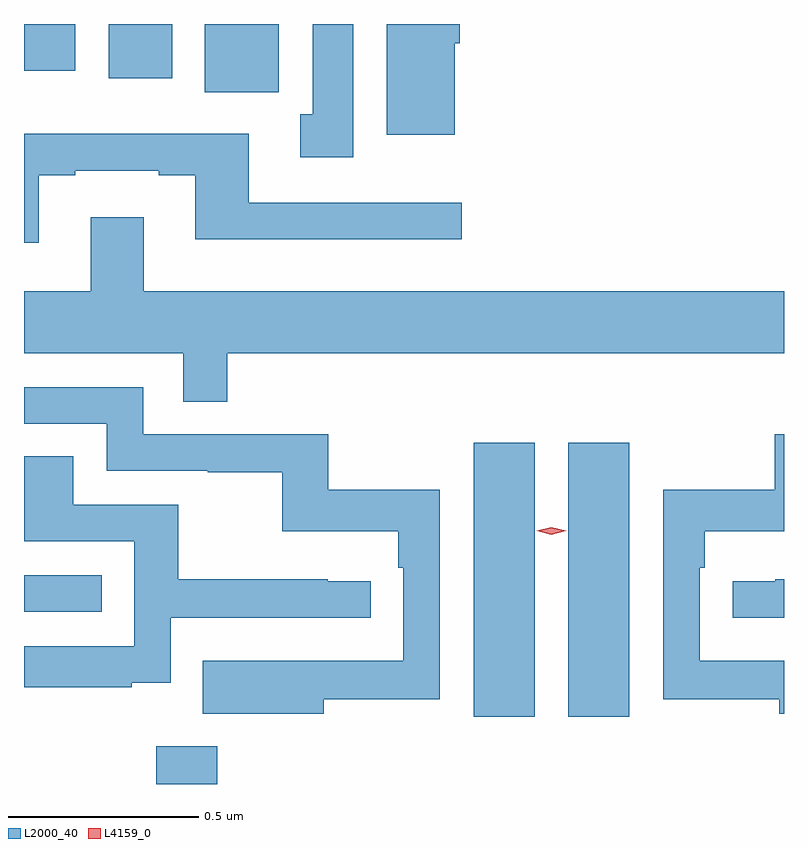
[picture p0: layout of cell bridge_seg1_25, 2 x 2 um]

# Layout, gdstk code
import gdstk
lib = gdstk.Library(unit=1e-6, precision=1e-09)
def R(c, l, rs):  # rectangles x0, y0, x1, y1
    for r in rs: c.add(gdstk.rectangle(r[:2], r[2:], *l))
def P(c, l, *ps):  # polygons
    for p in ps: c.add(gdstk.Polygon(p, *l))
L2000_40 = (2000, 40)
L4159_0 = (4159, 0)

bridge_seg1_25 = lib.new_cell('bridge_seg1_25')
R(bridge_seg1_25, L2000_40, [(1023.19,510.639,1023.35,510.739), (1024.025,510.816,1024.186,511.537), (1024.274,510.816,1024.435,511.537), (1022.842,511.092,1023.047,511.188), (1023.317,512.46,1023.513,512.639), (1023.065,512.496,1023.232,512.639), (1022.842,512.516,1022.977,512.639)])
P(bridge_seg1_25, L2000_40, [(1023.976,512.588),(1023.989,512.588),(1023.989,512.639),(1023.797,512.639),(1023.797,512.348),(1023.976,512.348)],
  [(1023.709,512.639),(1023.602,512.639),(1023.602,512.401),(1023.569,512.401),(1023.569,512.289),(1023.709,512.289)],
  [(1022.881,512.241),(1022.977,512.241),(1022.977,512.253),(1023.197,512.253),(1023.197,512.241),(1023.293,512.241),(1023.293,512.072),(1023.994,512.072),(1023.994,512.169),(1023.433,512.169),(1023.433,512.35),(1022.842,512.35),(1022.842,512.064),(1022.881,512.064)],
  [(1023.377,511.772),(1024.842,511.772),(1024.842,511.936),(1023.157,511.936),(1023.157,512.131),(1023.017,512.131),(1023.017,511.936),(1022.842,511.936),(1022.842,511.772),(1023.261,511.772),(1023.261,511.645),(1023.377,511.645)],
  [(1023.631,510.862),(1023.936,510.862),(1023.936,511.414),(1023.643,511.414),(1023.643,511.56),(1023.156,511.56),(1023.156,511.683),(1022.842,511.683),(1022.842,511.587),(1023.06,511.587),(1023.06,511.464),(1023.325,511.464),(1023.325,511.459),(1023.522,511.459),(1023.522,511.304),(1023.827,511.304),(1023.827,511.208),(1023.84,511.208),(1023.84,510.963),(1023.527,510.963),(1023.527,510.964),(1023.313,510.964),(1023.313,510.824),(1023.631,510.824)],
  [(1024.842,510.963),(1024.62,510.963),(1024.62,511.208),(1024.634,511.208),(1024.634,511.304),(1024.842,511.304),(1024.842,511.56),(1024.818,511.56),(1024.818,511.414),(1024.524,511.414),(1024.524,510.862),(1024.829,510.862),(1024.829,510.824),(1024.842,510.824)],
  [(1023.125,510.905),(1023.228,510.905),(1023.228,511.077),(1023.754,511.077),(1023.754,511.173),(1023.641,511.173),(1023.641,511.178),(1023.248,511.178),(1023.248,511.374),(1022.971,511.374),(1022.971,511.502),(1022.842,511.502),(1022.842,511.278),(1023.132,511.278),(1023.132,511.002),(1022.842,511.002),(1022.842,510.894),(1023.125,510.894)],
  [(1024.842,511.178),(1024.819,511.178),(1024.819,511.173),(1024.707,511.173),(1024.707,511.077),(1024.842,511.077)])
P(bridge_seg1_25, L4159_0, [(1024.23,511.295),(1024.191,511.305),(1024.19,511.305),(1024.191,511.306),(1024.23,511.315),(1024.269,511.306),(1024.269,511.305),(1024.269,511.305)])

lib.write_gds('bridge_seg1_25.gds')
